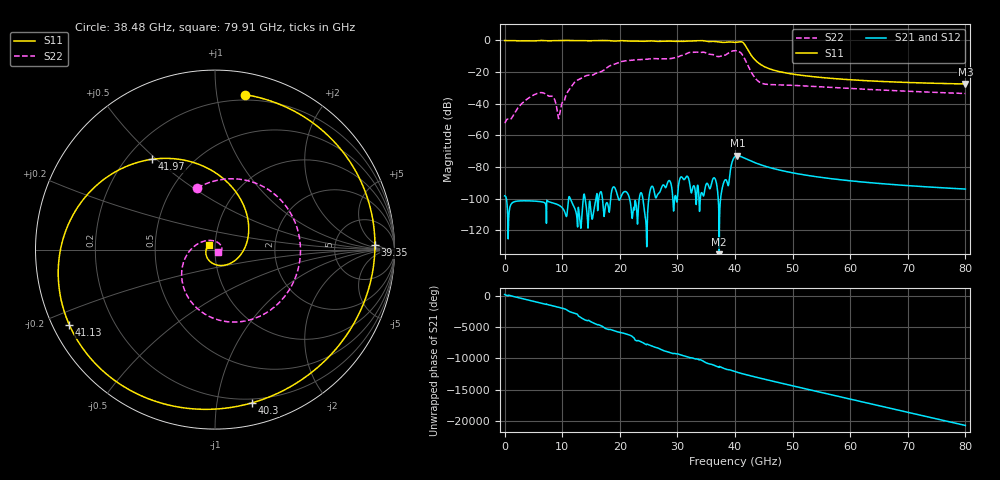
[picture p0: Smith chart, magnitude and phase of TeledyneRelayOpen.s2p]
# Hz S DB R 50
!Touchstone multiport model file <C:\work\PySI\TestSignalIntegrity\OysterSimulation\ResampledSimbeor\TeledyneRelayOpen.s2p>
!Created on 22 Aug 18, at 17:55:44.
!Created with Simbeor THz 2018.01(64bit) of Simberian Inc. built on Jul 20 2018
!Output from MultiportParameters of Simbeor.
!Multiport parameters: DataOrigin=Simulation DataOriginName="Project(1).TeledyneRelayOpen_resampled.LNS"
!RESAMPLED_RCM: Max_RMS_Error=0.00122958; FrqLow=0; FrqHigh=4e+10; MaxTimeResolution=1.25e-11; PassivityState=1; ReciprocityState=1; DataSource="pÔS´n"
!RATIONAL COMPACTOR: Precision: Normal; Extract Delay: ON; Extrapolate to DC: ON; Extrapolate to Infinity: OFF; Enforce Passivity: ON; Enforce Reciprocity: ON; Band Limit Factor: 1; Auto-Adjust Config: OFF
!Uncomment the following lines with keywords in square brakets to support IBIS forum specification 2.0.
![Version] 2.0 !This line should be the first in file, preceeding the line starting with #.
![Number of Ports] 2
![Number of Frequencies] 8001
![Two-Port Data Order] 21_12
![Reference] 50 50
!!!!Multiport descriptor profile: InputCount=2 TotalPortCount=2
!DescriptorOutline={DescriptorType=SMatrix InputSpace=Terminal NormalizationType=CommonZo NormalizationCommonZo=50 Ohm OutputFormat=DBMagnitudeAngle}
!InputProfile={Name="IO1" IsTLineInput=False InputNumber=1 PortCount=1 FirstPortNumber=1 InputSpace=Terminal BlockType=SBlock NormalizationType=CommonZo Zo=50}
!InputProfile={Name="IO2" IsTLineInput=False InputNumber=2 PortCount=1 FirstPortNumber=2 InputSpace=Terminal BlockType=SBlock NormalizationType=CommonZo Zo=50}
!!!Global port number to input_name/local_port_number correspondence:
!Port 1 -> "IO1"/local_port_1 (terminal)
!Port 2 -> "IO2"/local_port_1 (terminal)
!!!!End of descriptor profile.
!Frequency Hz 20.0*log(|S[1,1]|) arg(S[1,1]) 20.0*log(|S[2,1]|) arg(S[2,1]) 20.0*log(|S[1,2]|) arg(S[1,2]) 20.0*log(|S[2,2]|) arg(S[2,2])
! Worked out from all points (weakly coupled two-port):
!   8000 points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, 10 MHz to 80 GHz, reference 50 ohm
!   highest |S21| = -72.86 dB at 40.43 GHz (marker M1); lowest = -138.2 dB at 37.27 GHz (marker M2)
!   lowest |S11| = -27.5 dB at 80 GHz (marker M3), VSWR 1.09, Z = 46.6 + j2.19 ohm
!   |S11| at or under -10 dB: 42.95 GHz to end of sweep
!   |S22| runs from -52.1 to -6.4 dB; largest |S21 - S12| = 3.7e-18
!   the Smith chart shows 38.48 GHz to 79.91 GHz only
!   S11 on the Smith chart (normalised r, x): 38.48 GHz: 0.16, +1.20; 39.35 GHz: 16, +4; 40.3 GHz: 0.17, -1.26; 41.13 GHz: 0.05, -0.24; 41.97 GHz: 0.30, +0.48; 79.91 GHz: 0.93, +0.04
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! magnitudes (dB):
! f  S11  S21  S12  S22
! 10 MHz  -0.1  -98.2  -98.2  -52.1
! 6.08 GHz  0.0  -101.8  -101.8  -33.1
! 8.37 GHz  -0.2  -102.6  -102.6  -35.5
! 9.47 GHz  -0.1  -104.2  -104.2  -48.7
! 11.12 GHz  0.0  -99.6  -99.6  -31.6
! 13.35 GHz  -0.1  -114.5  -114.5  -23.8
! 20.44 GHz  -0.1  -97.0  -97.0  -13.2
! 26.68 GHz  -0.6  -96.9  -96.9  -11.6
! 33.14 GHz  -0.2  -96.7  -96.7  -7.4
! 37.27 GHz  -1.0  -138.2  -138.2  -10.2
! 38.48 GHz  -1.1  -88.2  -88.2  -8.9
! 39.35 GHz  -1.0  -79.2  -79.2  -6.9
! 40.01 GHz  -1.2  -73.4  -73.4  -6.4
! 40.3 GHz  -1.1  -72.9  -72.9  -6.5
! 40.43 GHz  -1.0  -72.9  -72.9  -6.6
! 41.13 GHz  -0.8  -73.5  -73.5  -8.3
! 41.97 GHz  -4.2  -74.9  -74.9  -13.7
! 44.7 GHz  -15.7  -78.8  -78.8  -27.1
! 53.34 GHz  -22.8  -85.7  -85.7  -29.0
! 66.67 GHz  -26.1  -90.8  -90.8  -31.5
! 79.91 GHz  -27.5  -93.9  -93.9  -33.5
! 80 GHz  -27.5  -93.9  -93.9  -33.5
